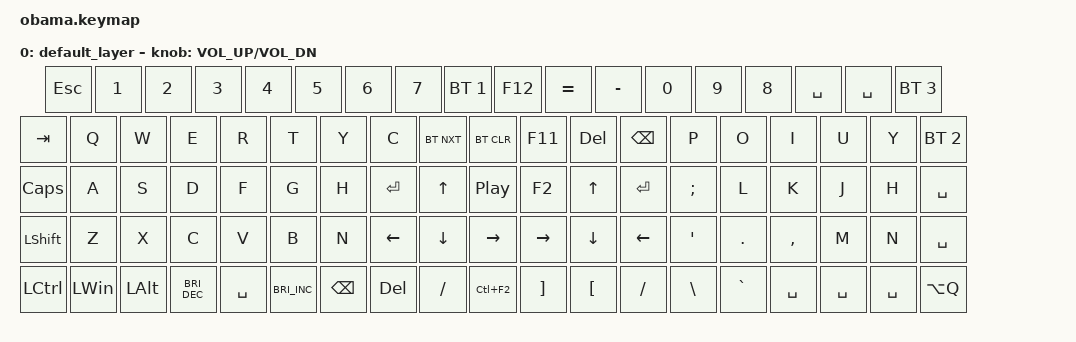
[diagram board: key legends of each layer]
#include <behaviors.dtsi>
#include <dt-bindings/zmk/keys.h>
#include <dt-bindings/zmk/bt.h>


/ {
       keymap {
              compatible = "zmk,keymap";

              default_layer {
                     bindings = <
&kp ESC	&kp N1	&kp N2	&kp N3	&kp N4	&kp N5	&kp N6	&kp N7	&bt BT_SEL 1		&kp F12	&kp EQUAL	&kp MINUS	&kp N0	&kp N9	&kp N8	&kp SPACE	&kp SPACE	&bt BT_SEL 3
&kp TAB	&kp Q	&kp W	&kp E	&kp R	&kp T	&kp Y	&kp C	&bt BT_NXT	&bt BT_CLR	&kp F11	&kp DEL	&kp BACKSPACE	&kp P	&kp O	&kp I	&kp U	&kp Y	&bt BT_SEL 2
&kp CAPS	&kp A	&kp S	&kp D	&kp F	&kp G	&kp H	&kp ENTER	&kp UP	&kp C_PP	&kp F2	&kp UP	&kp ENTER	&kp SEMI	&kp L	&kp K	&kp J	&kp H	&kp SPACE
&kp LSHIFT	&kp Z	&kp X	&kp C	&kp V	&kp B	&kp N	&kp LEFT	&kp DOWN	&kp RIGHT	&kp RIGHT	&kp DOWN	&kp LEFT	&kp APOS	&kp PERIOD	&kp COMMA	&kp M	&kp N	&kp SPACE
&kp LCTRL	&kp LWIN	&kp LALT	&kp C_BRIGHTNESS_DEC	&kp SPACE	&kp C_BRIGHTNESS_INC	&kp BACKSPACE	&kp DEL	&kp SLASH	&kp LC(F2)	&kp RBKT	&kp LBKT	&kp SLASH	&kp BACKSLASH	&kp GRAVE	&kp SPACE	&kp SPACE	&kp SPACE	&kp LA(Q)
                     >; 

                     sensor-bindings = <&inc_dec_kp C_VOL_UP C_VOL_DN>;
              };
       };
};
